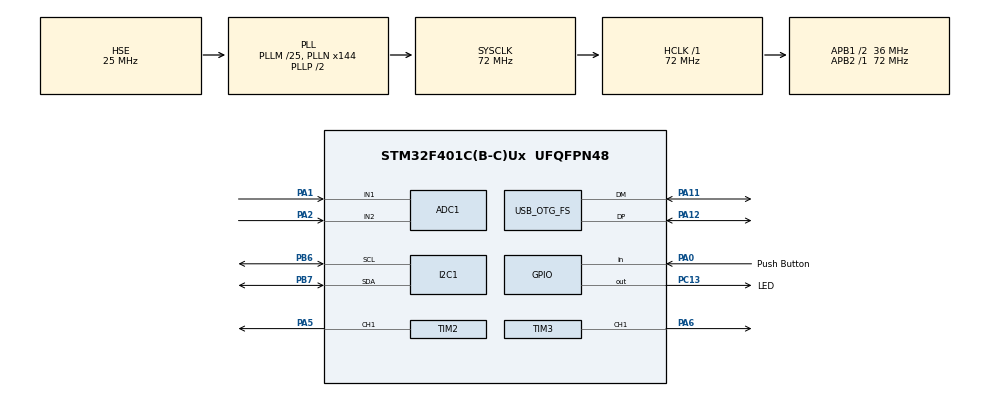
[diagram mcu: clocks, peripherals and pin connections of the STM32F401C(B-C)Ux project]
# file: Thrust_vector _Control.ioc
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ADC1.Channel-0\#ChannelRegularConversion=ADC_CHANNEL_1
ADC1.NbrOfConversionFlag=1
ADC1.Rank-0\#ChannelRegularConversion=1
ADC1.SamplingTime-0\#ChannelRegularConversion=ADC_SAMPLETIME_3CYCLES
ADC1.master=1
Mcu.Family=STM32F4
Mcu.Name=STM32F401C(B-C)Ux
Mcu.Package=UFQFPN48
NVIC.OTG_FS_IRQn=true\:0\:0\:false\:false\:true\:false\:true\:true
NVIC.PriorityGroup=NVIC_PRIORITYGROUP_4
PA0-WKUP.GPIO_Label=Push Button
PA0-WKUP.Signal=GPIO_Input
PA1.Signal=ADCx_IN1
PA11.Mode=Device_Only
PA11.Signal=USB_OTG_FS_DM
PA12.Mode=Device_Only
PA12.Signal=USB_OTG_FS_DP
PA13.Mode=Serial_Wire
PA13.Signal=SYS_JTMS-SWDIO
PA14.Mode=Serial_Wire
PA14.Signal=SYS_JTCK-SWCLK
PA2.Signal=ADCx_IN2
PA5.Signal=S_TIM2_CH1_ETR
PA6.Signal=S_TIM3_CH1
PB6.Mode=I2C
PB6.Signal=I2C1_SCL
PB7.Mode=I2C
PB7.Signal=I2C1_SDA
PC13-ANTI_TAMP.GPIO_Label=LED
PC13-ANTI_TAMP.Signal=GPIO_Output
PC14-OSC32_IN.Mode=LSE-External-Oscillator
PC14-OSC32_IN.Signal=RCC_OSC32_IN
PC15-OSC32_OUT.Mode=LSE-External-Oscillator
PC15-OSC32_OUT.Signal=RCC_OSC32_OUT
PH0\ -\ OSC_IN.Mode=HSE-External-Oscillator
PH0\ -\ OSC_IN.Signal=RCC_OSC_IN
PH1\ -\ OSC_OUT.Mode=HSE-External-Oscillator
PH1\ -\ OSC_OUT.Signal=RCC_OSC_OUT
ProjectManager.HeapSize=0x200
ProjectManager.StackSize=0x400
ProjectManager.TargetToolchain=STM32CubeIDE
RCC.48MHZClocksFreq_Value=48000000
RCC.AHBFreq_Value=72000000
RCC.APB1CLKDivider=RCC_HCLK_DIV2
RCC.APB1Freq_Value=36000000
RCC.APB1TimFreq_Value=72000000
RCC.APB2Freq_Value=72000000
RCC.APB2TimFreq_Value=72000000
RCC.CortexFreq_Value=72000000
RCC.HCLKFreq_Value=72000000
RCC.HSE_VALUE=25000000
RCC.HSI_VALUE=16000000
RCC.LockedElements=USBOTGOutput
RCC.PLLM=25
RCC.PLLN=144
RCC.PLLQ=3
RCC.SYSCLKFreq_VALUE=72000000
RCC.SYSCLKSource=RCC_SYSCLKSOURCE_PLLCLK
RCC.VCOOutputFreq_Value=144000000
SH.ADCx_IN1.0=ADC1_IN1,IN1
SH.ADCx_IN2.0=ADC1_IN2,IN2
SH.S_TIM2_CH1_ETR.0=TIM2_CH1,PWM Generation1 CH1
SH.S_TIM3_CH1.0=TIM3_CH1,PWM Generation1 CH1
TIM2.Channel-PWM\ Generation1\ CH1=TIM_CHANNEL_1
TIM2.Period=20000-1
TIM2.Prescaler=72-1
TIM3.Channel-PWM\ Generation1\ CH1=TIM_CHANNEL_1
TIM3.Period=20000-1
TIM3.Prescaler=72-1
USB_DEVICE.CLASS_NAME_FS=CDC
USB_DEVICE.VirtualMode=Cdc
USB_DEVICE.VirtualModeFS=Cdc_FS
USB_OTG_FS.VirtualMode=Device_Only
VP_USB_DEVICE_VS_USB_DEVICE_CDC_FS.Mode=CDC_FS
board=custom

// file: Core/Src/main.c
/* USER CODE BEGIN Header */
/**
  ******************************************************************************
  * @file           : main.c
  * @brief          : Main program body
  ******************************************************************************
  * @attention
  *
  * Copyright (c) 2026 STMicroelectronics.
  * All rights reserved.
  *
  * This software is licensed under terms that can be found in the LICENSE file
  * in the root directory of this software component.
  * If no LICENSE file comes with this software, it is provided AS-IS.
  *
  ******************************************************************************
  */
/* USER CODE END Header */
#include "main.h"
#include "usb_device.h"

/* USER CODE BEGIN Includes */
#include "MPU9250.h"
#include "usbd_cdc_if.h"
/* USER CODE END Includes */

/* USER CODE BEGIN PTD */
typedef struct {
    float Kp, Ki, Kd;
    float setpoint;
    float integral;
    float last_error;
    float out_max; // Maximum gimbal limit (e.g., 10 degrees)
} PID_TVC;
/* USER CODE END PTD */

/* USER CODE BEGIN PM */
PID_TVC pidP = {5.0f, 0.05f, 0.12f, 0.0f, 0.0f, 0.0f, 15.0f};
PID_TVC pidR = {5.0f, 0.05f, 0.12f, 0.0f, 0.0f, 0.0f, 15.0f};

#define PWM_CENTER 1500  // 1.5ms pulse
#define PWM_MIN    1000  // 1.0ms pulse
#define PWM_MAX    2000  // 2.0ms pulse
#define TICKS_PER_DEGREE 5.555f // (1000 ticks / 180 degrees)
/* USER CODE END PM */

ADC_HandleTypeDef hadc1;

I2C_HandleTypeDef hi2c1;

TIM_HandleTypeDef htim2;
TIM_HandleTypeDef htim3;

/* USER CODE BEGIN PV */
int16_t Accel_Raw[3], Gyro_Raw[3], Mag_Raw[3];
int16_t Accel_Offset[3], Gyro_Offset[3];
float Mag_Bias[3] = {0}, Mag_Scale[3] = {1, 1, 1};
float Pitch = 0, Roll = 0, Yaw = 0;
char msg[64];
/* USER CODE END PV */

void SystemClock_Config(void);
static void MX_GPIO_Init(void);
static void MX_ADC1_Init(void);
static void MX_I2C1_Init(void);
static void MX_TIM2_Init(void);
static void MX_TIM3_Init(void);
/* USER CODE BEGIN PFP */
float PID_Compute(PID_TVC *pid, float measured, float dt)
{
    float error = pid->setpoint - measured;

    // Integral with Anti-Windup
    pid->integral += error * dt;
    if (pid->integral > 5.0f) pid->integral = 5.0f;
    if (pid->integral < -5.0f) pid->integral = -5.0f;

    float derivative = (error - pid->last_error) / dt;
    pid->last_error = error;

    float output = (pid->Kp * error) + (pid->Ki * pid->integral) + (pid->Kd * derivative);

    // Limit output to gimbal physical range
    if (output > pid->out_max) output = pid->out_max;
    if (output < -pid->out_max) output = -pid->out_max;

    return output;
}

void Update_Servos(float p_out, float r_out) {
    uint32_t pulseP = (uint32_t)(PWM_CENTER + (p_out * TICKS_PER_DEGREE));
    uint32_t pulseR = (uint32_t)(PWM_CENTER + (r_out * TICKS_PER_DEGREE));

    // Clamping
    if (pulseP < PWM_MIN) pulseP = PWM_MIN;
    if (pulseP > PWM_MAX) pulseP = PWM_MAX;
    if (pulseR < PWM_MIN) pulseR = PWM_MIN;
    if (pulseR > PWM_MAX) pulseR = PWM_MAX;

    // Use TIM2 for Pitch and TIM3 for Roll (matching your MX_Init)
    __HAL_TIM_SET_COMPARE(&htim2, TIM_CHANNEL_1, pulseP);
    __HAL_TIM_SET_COMPARE(&htim3, TIM_CHANNEL_1, pulseR);
}
/* USER CODE END PFP */

int main(void)
{

  /* MCU Configuration--------------------------------------------------------*/

  /* Reset of all peripherals, Initializes the Flash interface and the Systick. */
  HAL_Init();

  /* Configure the system clock */
  SystemClock_Config();

  /* Initialize all configured peripherals */
  MX_GPIO_Init();
  MX_ADC1_Init();
  MX_I2C1_Init();
  MX_TIM2_Init();
  MX_TIM3_Init();
  MX_USB_DEVICE_Init();
  /* USER CODE BEGIN 2 */
  MPU9250_Init();
  HAL_TIM_PWM_Start(&htim2, TIM_CHANNEL_1);
  HAL_TIM_PWM_Start(&htim3, TIM_CHANNEL_1);

  Calibrate_Accel(Accel_Offset);
  Calibrate_Gyro(Gyro_Offset);
  Calibrate_Mag(Mag_Bias, Mag_Scale);

  /* USER CODE END 2 */

  /* Infinite loop */
  /* USER CODE BEGIN WHILE */
  uint32_t last_time = HAL_GetTick();

  while (1)
  {
    /* USER CODE END WHILE */

    /* USER CODE BEGIN 3 */
	  uint32_t current_tick = HAL_GetTick();
      float dt = (float)(current_tick - last_time) / 1000.0f;

      // Prevent dt being 0 on first frame
      if (dt <= 0.0f) dt = 0.01f;
      last_time = current_tick;

      MPU9250_ReadAccel(Accel_Raw);
      MPU9250_ReadGyro(Gyro_Raw);
      MPU9250_ReadMag(Mag_Raw);

      Accel_Raw[0] -= Accel_Offset[0];
      Accel_Raw[1] -= Accel_Offset[1];
      Accel_Raw[2] -= Accel_Offset[2];

      Gyro_Raw[0] -= Gyro_Offset[0];
      Gyro_Raw[1] -= Gyro_Offset[1];
      Gyro_Raw[2] -= Gyro_Offset[2];

      Mag_Raw[0] = (int16_t)((Mag_Raw[0] - Mag_Bias[0]) * Mag_Scale[0]);
      Mag_Raw[1] = (int16_t)((Mag_Raw[1] - Mag_Bias[1]) * Mag_Scale[1]);
      Mag_Raw[2] = (int16_t)((Mag_Raw[2] - Mag_Bias[2]) * Mag_Scale[2]);

      MPU9250_GetAngles(Accel_Raw, Gyro_Raw, Mag_Raw, &Pitch, &Roll, &Yaw, dt);

      sprintf(msg, "%.2f, %.2f, %.2f\r\n", Pitch, Roll, Yaw);

      float p_output = PID_Compute(&pidP, Pitch, dt);
      float r_output = PID_Compute(&pidR, Roll, dt);

      Update_Servos(p_output, r_output);

//      Update_Servos(10.0f, 10.0f);
//      HAL_Delay(1000);
//      Update_Servos(-10.0f, -10.0f);
//      HAL_Delay(1000);
//      HAL_GPIO_TogglePin(GPIOC, GPIO_PIN_13);

      CDC_Transmit_FS((uint8_t*)msg, strlen(msg));
  }
  /* USER CODE END 3 */
}

void SystemClock_Config(void)
{
  RCC_OscInitTypeDef RCC_OscInitStruct = {0};
  RCC_ClkInitTypeDef RCC_ClkInitStruct = {0};

  /** Configure the main internal regulator output voltage
  */
  __HAL_RCC_PWR_CLK_ENABLE();
  __HAL_PWR_VOLTAGESCALING_CONFIG(PWR_REGULATOR_VOLTAGE_SCALE2);

  /** Initializes the RCC Oscillators according to the specified parameters
  * in the RCC_OscInitTypeDef structure.
  */
  RCC_OscInitStruct.OscillatorType = RCC_OSCILLATORTYPE_HSE;
  RCC_OscInitStruct.HSEState = RCC_HSE_ON;
  RCC_OscInitStruct.PLL.PLLState = RCC_PLL_ON;
  RCC_OscInitStruct.PLL.PLLSource = RCC_PLLSOURCE_HSE;
  RCC_OscInitStruct.PLL.PLLM = 25;
  RCC_OscInitStruct.PLL.PLLN = 144;
  RCC_OscInitStruct.PLL.PLLP = RCC_PLLP_DIV2;
  RCC_OscInitStruct.PLL.PLLQ = 3;
  if (HAL_RCC_OscConfig(&RCC_OscInitStruct) != HAL_OK)
  {
    Error_Handler();
  }

  /** Initializes the CPU, AHB and APB buses clocks
  */
  RCC_ClkInitStruct.ClockType = RCC_CLOCKTYPE_HCLK|RCC_CLOCKTYPE_SYSCLK
                              |RCC_CLOCKTYPE_PCLK1|RCC_CLOCKTYPE_PCLK2;
  RCC_ClkInitStruct.SYSCLKSource = RCC_SYSCLKSOURCE_PLLCLK;
  RCC_ClkInitStruct.AHBCLKDivider = RCC_SYSCLK_DIV1;
  RCC_ClkInitStruct.APB1CLKDivider = RCC_HCLK_DIV2;
  RCC_ClkInitStruct.APB2CLKDivider = RCC_HCLK_DIV1;

  if (HAL_RCC_ClockConfig(&RCC_ClkInitStruct, FLASH_LATENCY_2) != HAL_OK)
  {
    Error_Handler();
  }
}

static void MX_ADC1_Init(void)
{

  ADC_ChannelConfTypeDef sConfig = {0};

  /** Configure the global features of the ADC (Clock, Resolution, Data Alignment and number of conversion)
  */
  hadc1.Instance = ADC1;
  hadc1.Init.ClockPrescaler = ADC_CLOCK_SYNC_PCLK_DIV2;
  hadc1.Init.Resolution = ADC_RESOLUTION_12B;
  hadc1.Init.ScanConvMode = DISABLE;
  hadc1.Init.ContinuousConvMode = DISABLE;
  hadc1.Init.DiscontinuousConvMode = DISABLE;
  hadc1.Init.ExternalTrigConvEdge = ADC_EXTERNALTRIGCONVEDGE_NONE;
  hadc1.Init.ExternalTrigConv = ADC_SOFTWARE_START;
  hadc1.Init.DataAlign = ADC_DATAALIGN_RIGHT;
  hadc1.Init.NbrOfConversion = 1;
  hadc1.Init.DMAContinuousRequests = DISABLE;
  hadc1.Init.EOCSelection = ADC_EOC_SINGLE_CONV;
  if (HAL_ADC_Init(&hadc1) != HAL_OK)
  {
    Error_Handler();
  }

  /** Configure for the selected ADC regular channel its corresponding rank in the sequencer and its sample time.
  */
  sConfig.Channel = ADC_CHANNEL_1;
  sConfig.Rank = 1;
  sConfig.SamplingTime = ADC_SAMPLETIME_3CYCLES;
  if (HAL_ADC_ConfigChannel(&hadc1, &sConfig) != HAL_OK)
  {
    Error_Handler();
  }

}

static void MX_I2C1_Init(void)
{

  hi2c1.Instance = I2C1;
  hi2c1.Init.ClockSpeed = 100000;
  hi2c1.Init.DutyCycle = I2C_DUTYCYCLE_2;
  hi2c1.Init.OwnAddress1 = 0;
  hi2c1.Init.AddressingMode = I2C_ADDRESSINGMODE_7BIT;
  hi2c1.Init.DualAddressMode = I2C_DUALADDRESS_DISABLE;
  hi2c1.Init.OwnAddress2 = 0;
  hi2c1.Init.GeneralCallMode = I2C_GENERALCALL_DISABLE;
  hi2c1.Init.NoStretchMode = I2C_NOSTRETCH_DISABLE;
  if (HAL_I2C_Init(&hi2c1) != HAL_OK)
  {
    Error_Handler();
  }

}

static void MX_TIM2_Init(void)
{

  TIM_MasterConfigTypeDef sMasterConfig = {0};
  TIM_OC_InitTypeDef sConfigOC = {0};

  htim2.Instance = TIM2;
  htim2.Init.Prescaler = 72-1;
  htim2.Init.CounterMode = TIM_COUNTERMODE_UP;
  htim2.Init.Period = 20000-1;
  htim2.Init.ClockDivision = TIM_CLOCKDIVISION_DIV1;
  htim2.Init.AutoReloadPreload = TIM_AUTORELOAD_PRELOAD_DISABLE;
  if (HAL_TIM_PWM_Init(&htim2) != HAL_OK)
  {
    Error_Handler();
  }
  sMasterConfig.MasterOutputTrigger = TIM_TRGO_RESET;
  sMasterConfig.MasterSlaveMode = TIM_MASTERSLAVEMODE_DISABLE;
  if (HAL_TIMEx_MasterConfigSynchronization(&htim2, &sMasterConfig) != HAL_OK)
  {
    Error_Handler();
  }
  sConfigOC.OCMode = TIM_OCMODE_PWM1;
  sConfigOC.Pulse = 0;
  sConfigOC.OCPolarity = TIM_OCPOLARITY_HIGH;
  sConfigOC.OCFastMode = TIM_OCFAST_DISABLE;
  if (HAL_TIM_PWM_ConfigChannel(&htim2, &sConfigOC, TIM_CHANNEL_1) != HAL_OK)
  {
    Error_Handler();
  }
  HAL_TIM_MspPostInit(&htim2);

}

static void MX_TIM3_Init(void)
{

  TIM_MasterConfigTypeDef sMasterConfig = {0};
  TIM_OC_InitTypeDef sConfigOC = {0};

  htim3.Instance = TIM3;
  htim3.Init.Prescaler = 72-1;
  htim3.Init.CounterMode = TIM_COUNTERMODE_UP;
  htim3.Init.Period = 20000-1;
  htim3.Init.ClockDivision = TIM_CLOCKDIVISION_DIV1;
  htim3.Init.AutoReloadPreload = TIM_AUTORELOAD_PRELOAD_DISABLE;
  if (HAL_TIM_PWM_Init(&htim3) != HAL_OK)
  {
    Error_Handler();
  }
  sMasterConfig.MasterOutputTrigger = TIM_TRGO_RESET;
  sMasterConfig.MasterSlaveMode = TIM_MASTERSLAVEMODE_DISABLE;
  if (HAL_TIMEx_MasterConfigSynchronization(&htim3, &sMasterConfig) != HAL_OK)
  {
    Error_Handler();
  }
  sConfigOC.OCMode = TIM_OCMODE_PWM1;
  sConfigOC.Pulse = 0;
  sConfigOC.OCPolarity = TIM_OCPOLARITY_HIGH;
  sConfigOC.OCFastMode = TIM_OCFAST_DISABLE;
  if (HAL_TIM_PWM_ConfigChannel(&htim3, &sConfigOC, TIM_CHANNEL_1) != HAL_OK)
  {
    Error_Handler();
  }
  HAL_TIM_MspPostInit(&htim3);

}

static void MX_GPIO_Init(void)
{
  GPIO_InitTypeDef GPIO_InitStruct = {0};

  /* GPIO Ports Clock Enable */
  __HAL_RCC_GPIOC_CLK_ENABLE();
  __HAL_RCC_GPIOH_CLK_ENABLE();
  __HAL_RCC_GPIOA_CLK_ENABLE();
  __HAL_RCC_GPIOB_CLK_ENABLE();

  /*Configure GPIO pin Output Level */
  HAL_GPIO_WritePin(LED_GPIO_Port, LED_Pin, GPIO_PIN_RESET);

  /*Configure GPIO pin : LED_Pin */
  GPIO_InitStruct.Pin = LED_Pin;
  GPIO_InitStruct.Mode = GPIO_MODE_OUTPUT_PP;
  GPIO_InitStruct.Pull = GPIO_NOPULL;
  GPIO_InitStruct.Speed = GPIO_SPEED_FREQ_LOW;
  HAL_GPIO_Init(LED_GPIO_Port, &GPIO_InitStruct);

  /*Configure GPIO pin : Push_Button_Pin */
  GPIO_InitStruct.Pin = Push_Button_Pin;
  GPIO_InitStruct.Mode = GPIO_MODE_INPUT;
  GPIO_InitStruct.Pull = GPIO_NOPULL;
  HAL_GPIO_Init(Push_Button_GPIO_Port, &GPIO_InitStruct);

}

void Error_Handler(void)
{
  __disable_irq();
  while (1)
  {
  }
}
